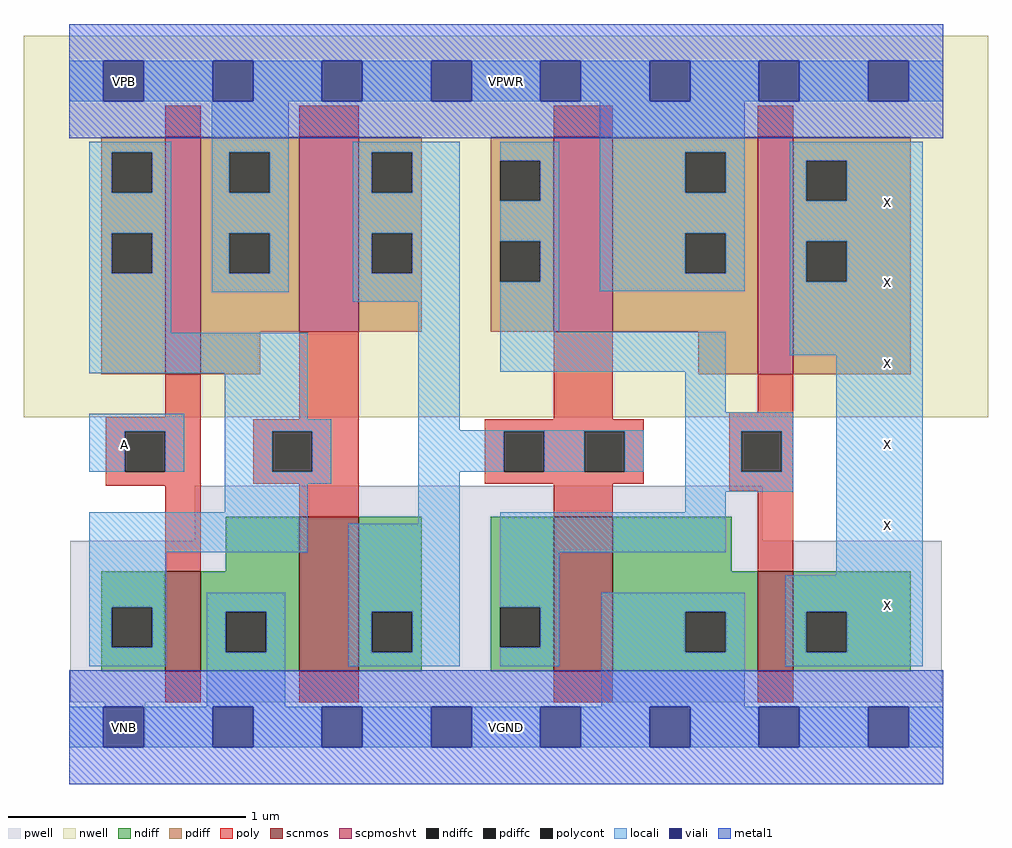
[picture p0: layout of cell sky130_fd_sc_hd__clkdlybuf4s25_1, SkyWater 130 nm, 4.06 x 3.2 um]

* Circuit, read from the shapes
.subckt sky130_fd_sc_hd__clkdlybuf4s25_1 A VGND VNB VPB VPWR X
XM1 VGND A n1 VNB sky130_fd_pr__nfet_01v8 w=0.42 l=0.15
XM2 n2 n1 VGND VNB sky130_fd_pr__nfet_01v8 w=0.65 l=0.25
XM3 VGND n2 n3 VNB sky130_fd_pr__nfet_01v8 w=0.65 l=0.25
XM4 X n3 VGND VNB sky130_fd_pr__nfet_01v8 w=0.42 l=0.15
XM5 VPWR A n1 VPB sky130_fd_pr__pfet_01v8_hvt w=1 l=0.15
XM6 n2 n1 VPWR VPB sky130_fd_pr__pfet_01v8_hvt w=0.82 l=0.25
XM7 VPWR n2 n3 VPB sky130_fd_pr__pfet_01v8_hvt w=0.82 l=0.25
XM8 X n3 VPWR VPB sky130_fd_pr__pfet_01v8_hvt w=1 l=0.15
.ends

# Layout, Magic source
magic
tech sky130B
magscale 1 2
<< nwell >>
rect -38 261 774 582
<< pwell >>
rect 106 157 584 203
rect 1 21 735 157
rect 30 -17 64 21
<< scnmos >>
rect 81 47 111 131
rect 194 47 244 177
rect 408 47 458 177
rect 580 47 610 131
<< scpmoshvt >>
rect 81 297 111 497
rect 194 333 244 497
rect 408 333 458 497
rect 580 297 610 497
<< ndiff >>
rect 132 131 194 177
rect 27 101 81 131
rect 27 67 36 101
rect 70 67 81 101
rect 27 47 81 67
rect 111 97 194 131
rect 111 63 132 97
rect 166 63 194 97
rect 111 47 194 63
rect 244 97 297 177
rect 244 63 255 97
rect 289 63 297 97
rect 244 47 297 63
rect 355 101 408 177
rect 355 67 363 101
rect 397 67 408 101
rect 355 47 408 67
rect 458 131 558 177
rect 458 97 580 131
rect 458 63 519 97
rect 553 63 580 97
rect 458 47 580 63
rect 610 97 709 131
rect 610 63 621 97
rect 655 63 709 97
rect 610 47 709 63
<< pdiff >>
rect 27 484 81 497
rect 27 450 36 484
rect 70 450 81 484
rect 27 416 81 450
rect 27 382 36 416
rect 70 382 81 416
rect 27 297 81 382
rect 111 484 194 497
rect 111 450 135 484
rect 169 450 194 484
rect 111 416 194 450
rect 111 382 135 416
rect 169 382 194 416
rect 111 333 194 382
rect 244 484 297 497
rect 244 450 255 484
rect 289 450 297 484
rect 244 416 297 450
rect 244 382 255 416
rect 289 382 297 416
rect 244 333 297 382
rect 355 477 408 497
rect 355 443 363 477
rect 397 443 408 477
rect 355 409 408 443
rect 355 375 363 409
rect 397 375 408 409
rect 355 333 408 375
rect 458 484 580 497
rect 458 450 519 484
rect 553 450 580 484
rect 458 416 580 450
rect 458 382 519 416
rect 553 382 580 416
rect 458 333 580 382
rect 111 297 161 333
rect 530 297 580 333
rect 610 477 709 497
rect 610 443 621 477
rect 655 443 709 477
rect 610 409 709 443
rect 610 375 621 409
rect 655 375 709 409
rect 610 297 709 375
<< ndiffc >>
rect 36 67 70 101
rect 132 63 166 97
rect 255 63 289 97
rect 363 67 397 101
rect 519 63 553 97
rect 621 63 655 97
<< pdiffc >>
rect 36 450 70 484
rect 36 382 70 416
rect 135 450 169 484
rect 135 382 169 416
rect 255 450 289 484
rect 255 382 289 416
rect 363 443 397 477
rect 363 375 397 409
rect 519 450 553 484
rect 519 382 553 416
rect 621 443 655 477
rect 621 375 655 409
<< poly >>
rect 81 497 111 523
rect 194 497 244 523
rect 408 497 458 523
rect 580 497 610 523
rect 81 261 111 297
rect 31 249 111 261
rect 194 259 244 333
rect 408 259 458 333
rect 580 265 610 297
rect 31 215 47 249
rect 81 215 111 249
rect 31 203 111 215
rect 155 249 244 259
rect 155 215 171 249
rect 205 215 244 249
rect 155 205 244 215
rect 350 249 484 259
rect 350 215 366 249
rect 400 215 434 249
rect 468 215 484 249
rect 350 205 484 215
rect 556 249 610 265
rect 556 215 566 249
rect 600 215 610 249
rect 81 131 111 203
rect 194 177 244 205
rect 408 177 458 205
rect 556 199 610 215
rect 580 131 610 199
rect 81 21 111 47
rect 194 21 244 47
rect 408 21 458 47
rect 580 21 610 47
<< polycont >>
rect 47 215 81 249
rect 171 215 205 249
rect 366 215 400 249
rect 434 215 468 249
rect 566 215 600 249
<< locali >>
rect 0 527 29 561
rect 63 527 121 561
rect 155 527 213 561
rect 247 527 305 561
rect 339 527 397 561
rect 431 527 489 561
rect 523 527 581 561
rect 615 527 673 561
rect 707 527 736 561
rect 17 484 86 493
rect 17 450 36 484
rect 70 450 86 484
rect 17 416 86 450
rect 17 382 36 416
rect 70 382 86 416
rect 17 332 86 382
rect 120 484 185 527
rect 120 450 135 484
rect 169 450 185 484
rect 120 416 185 450
rect 120 382 135 416
rect 169 382 185 416
rect 120 366 185 382
rect 239 484 329 493
rect 239 450 255 484
rect 289 450 329 484
rect 239 416 329 450
rect 239 382 255 416
rect 289 382 329 416
rect 239 358 329 382
rect 17 298 201 332
rect 17 249 97 264
rect 17 215 47 249
rect 81 215 97 249
rect 131 259 201 298
rect 131 249 221 259
rect 131 215 171 249
rect 205 215 221 249
rect 131 205 221 215
rect 294 250 329 358
rect 363 477 413 493
rect 397 443 413 477
rect 363 409 413 443
rect 397 375 413 409
rect 363 333 413 375
rect 447 484 569 527
rect 447 450 519 484
rect 553 450 569 484
rect 447 416 569 450
rect 447 382 519 416
rect 553 382 569 416
rect 447 367 569 382
rect 607 477 719 493
rect 607 443 621 477
rect 655 443 719 477
rect 607 409 719 443
rect 607 375 621 409
rect 655 375 719 409
rect 363 299 553 333
rect 607 313 719 375
rect 519 265 553 299
rect 294 249 484 250
rect 294 215 366 249
rect 400 215 434 249
rect 468 215 484 249
rect 519 249 610 265
rect 519 215 566 249
rect 600 215 610 249
rect 131 181 201 205
rect 17 147 201 181
rect 294 171 329 215
rect 519 198 610 215
rect 519 181 553 198
rect 17 101 82 147
rect 17 67 36 101
rect 70 67 82 101
rect 17 51 82 67
rect 116 97 182 113
rect 116 63 132 97
rect 166 63 182 97
rect 116 17 182 63
rect 235 97 329 171
rect 235 63 255 97
rect 289 63 329 97
rect 235 51 329 63
rect 363 147 553 181
rect 363 101 413 147
rect 646 128 719 313
rect 397 67 413 101
rect 363 51 413 67
rect 448 97 569 113
rect 448 63 519 97
rect 553 63 569 97
rect 448 17 569 63
rect 603 97 719 128
rect 603 63 621 97
rect 655 63 719 97
rect 603 51 719 63
rect 0 -17 29 17
rect 63 -17 121 17
rect 155 -17 213 17
rect 247 -17 305 17
rect 339 -17 397 17
rect 431 -17 489 17
rect 523 -17 581 17
rect 615 -17 673 17
rect 707 -17 736 17
<< viali >>
rect 29 527 63 561
rect 121 527 155 561
rect 213 527 247 561
rect 305 527 339 561
rect 397 527 431 561
rect 489 527 523 561
rect 581 527 615 561
rect 673 527 707 561
rect 29 -17 63 17
rect 121 -17 155 17
rect 213 -17 247 17
rect 305 -17 339 17
rect 397 -17 431 17
rect 489 -17 523 17
rect 581 -17 615 17
rect 673 -17 707 17
<< metal1 >>
rect 0 561 736 592
rect 0 527 29 561
rect 63 527 121 561
rect 155 527 213 561
rect 247 527 305 561
rect 339 527 397 561
rect 431 527 489 561
rect 523 527 581 561
rect 615 527 673 561
rect 707 527 736 561
rect 0 496 736 527
rect 0 17 736 48
rect 0 -17 29 17
rect 63 -17 121 17
rect 155 -17 213 17
rect 247 -17 305 17
rect 339 -17 397 17
rect 431 -17 489 17
rect 523 -17 581 17
rect 615 -17 673 17
rect 707 -17 736 17
rect 0 -48 736 -17
<< labels >>
flabel locali s 30 221 64 255 0 FreeSans 400 0 0 0 A
port 1 nsew signal input
flabel locali s 672 425 706 459 0 FreeSans 400 0 0 0 X
port 6 nsew signal output
flabel locali s 672 357 706 391 0 FreeSans 400 0 0 0 X
port 6 nsew signal output
flabel locali s 672 289 706 323 0 FreeSans 400 0 0 0 X
port 6 nsew signal output
flabel locali s 672 221 706 255 0 FreeSans 400 0 0 0 X
port 6 nsew signal output
flabel locali s 672 153 706 187 0 FreeSans 400 0 0 0 X
port 6 nsew signal output
flabel locali s 672 85 706 119 0 FreeSans 400 0 0 0 X
port 6 nsew signal output
flabel pwell s 30 -17 64 17 0 FreeSans 200 0 0 0 VNB
port 3 nsew ground bidirectional
flabel nwell s 30 527 64 561 0 FreeSans 200 0 0 0 VPB
port 4 nsew power bidirectional
flabel metal1 s 30 527 64 561 0 FreeSans 200 0 0 0 VPWR
port 5 nsew power bidirectional abutment
flabel metal1 s 30 -17 64 17 0 FreeSans 200 0 0 0 VGND
port 2 nsew ground bidirectional abutment
rlabel comment s 0 0 0 0 4 clkdlybuf4s25_1
rlabel metal1 s 0 -48 736 48 1 VGND
port 2 nsew ground bidirectional abutment
rlabel metal1 s 0 496 736 592 1 VPWR
port 5 nsew power bidirectional abutment
<< properties >>
string FIXED_BBOX 0 0 736 544
string GDS_END 3261692
string GDS_FILE $PDKPATH/libs.ref/sky130_fd_sc_hd/gds/sky130_fd_sc_hd.gds
string GDS_START 3255572
string LEFclass CORE
string LEFsite unithd
string LEFsymmetry X Y R90
string path 0.000 0.000 18.400 0.000 
<< end >>
